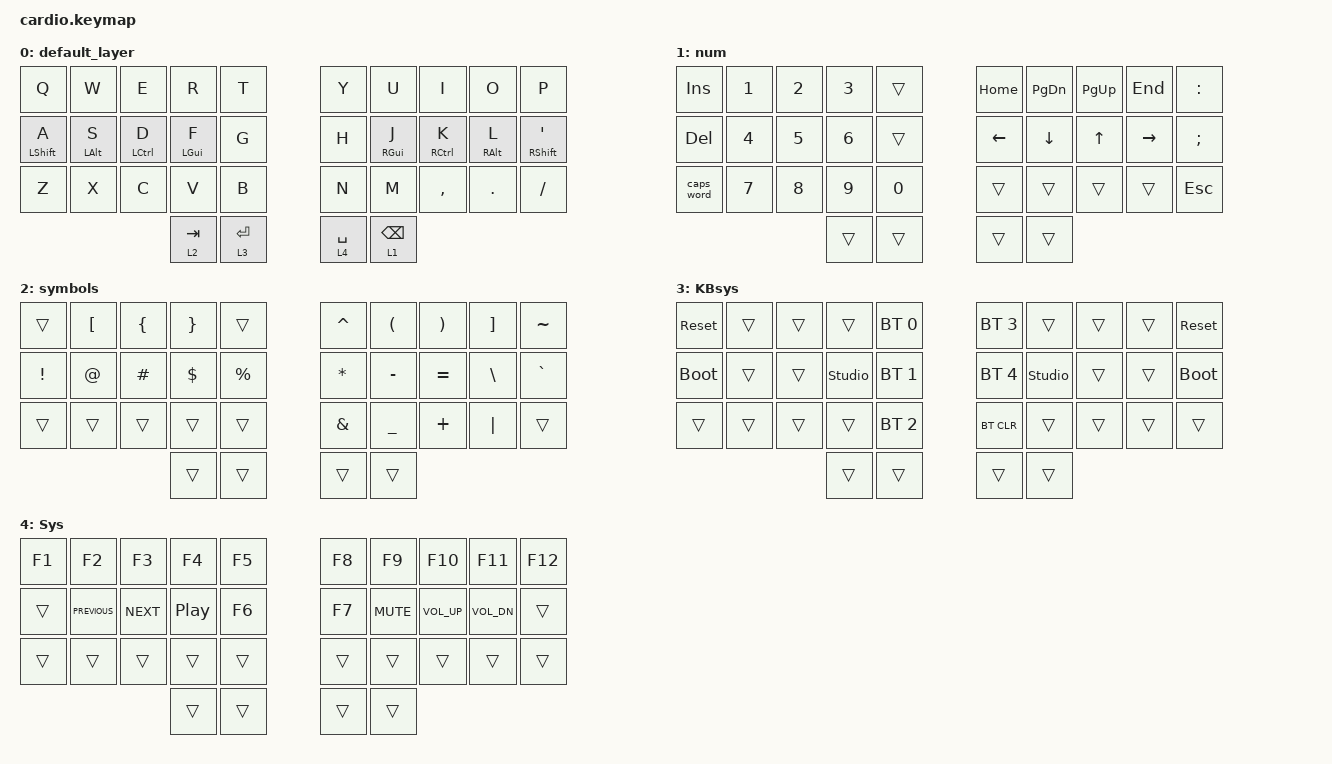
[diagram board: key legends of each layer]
// Copyright (c) 2022 The ZMK Contributors
// SPDX-License-Identifier: MIT

#include <behaviors.dtsi>
#include <dt-bindings/zmk/bt.h>
#include <dt-bindings/zmk/keys.h>

// Home row mods macro
// #define HRML(k1,k2,k3,k4) &ht LSHFT k1  &ht LALT k2  &ht LCTRL k3  &ht LGUI k4
// #define HRMR(k1,k2,k3,k4) &ht RGUI k1  &ht RCTRL k2  &ht RALT k3  &ht RSHFT k4

/ {
    behaviors {
        ht: hold_tap {
            compatible = "zmk,behavior-hold-tap";
            #binding-cells = <2>;
            flavor = "tap-preferred";
            tapping-term-ms = <220>;
            quick-tap-ms = <150>;
            require-prior-idle-ms = <100>;
            bindings = <&kp>, <&kp>;
        };
    };

    conditional_layers { compatible = "zmk,conditional-layers"; };

    keymap {
        compatible = "zmk,keymap";

        default_layer {
            bindings = <
&kp Q             &kp W           &kp E        &kp R           &kp T          &kp Y        &kp U            &kp I        &kp O            &kp P
&mt LEFT_SHIFT A  &mt LEFT_ALT S  &mt LCTRL D  &mt LEFT_GUI F  &kp G          &kp H        &mt RIGHT_GUI J  &mt RCTRL K  &mt RIGHT_ALT L  &mt RIGHT_SHIFT SQT
&kp Z             &kp X           &kp C        &kp V           &kp B          &kp N        &kp M            &kp COMMA    &kp DOT          &kp FSLH
                                               &lt 2 TAB       &lt 3 ENTER    &lt 4 SPACE  &lt 1 BSPC
            >;
        };

        num {
            bindings = <
&kp INS     &kp N1  &kp N2  &kp N3  &trans    &kp HOME  &kp PG_DN  &kp PG_UP  &kp END    &kp COLON
&kp DEL     &kp N4  &kp N5  &kp N6  &trans    &kp LEFT  &kp DOWN   &kp UP     &kp RIGHT  &kp SEMI
&caps_word  &kp N7  &kp N8  &kp N9  &kp N0    &trans    &trans     &trans     &trans     &kp ESCAPE
                            &trans  &trans    &trans    &trans
            >;
        };

        symbols {
            bindings = <
&trans    &kp LBKT  &kp LBRC  &kp RBRC  &trans       &kp CARET  &kp LPAR   &kp RPAR   &kp RBKT  &kp TILDE
&kp EXCL  &kp AT    &kp HASH  &kp DLLR  &kp PRCNT    &kp ASTRK  &kp MINUS  &kp EQUAL  &kp BSLH  &kp GRAVE
&trans    &trans    &trans    &trans    &trans       &kp AMPS   &kp UNDER  &kp PLUS   &kp PIPE  &trans
                              &trans    &trans       &trans     &trans
            >;
        };

        KBsys {
            bindings = <
&sys_reset   &trans  &trans  &trans          &bt BT_SEL 0    &bt BT_SEL 3  &trans          &trans  &trans  &sys_reset
&bootloader  &trans  &trans  &studio_unlock  &bt BT_SEL 1    &bt BT_SEL 4  &studio_unlock  &trans  &trans  &bootloader
&trans       &trans  &trans  &trans          &bt BT_SEL 2    &bt BT_CLR    &trans          &trans  &trans  &trans
                             &trans          &trans          &trans        &trans
            >;
        };

        Sys {
            bindings = <
&kp F1  &kp F2          &kp F3      &kp F4            &kp F5    &kp F8  &kp F9      &kp F10          &kp F11       &kp F12
&trans  &kp C_PREVIOUS  &kp C_NEXT  &kp C_PLAY_PAUSE  &kp F6    &kp F7  &kp C_MUTE  &kp C_VOLUME_UP  &kp C_VOL_DN  &trans
&trans  &trans          &trans      &trans            &trans    &trans  &trans      &trans           &trans        &trans
                                    &trans            &trans    &trans  &trans
            >;
        };
    };
};
